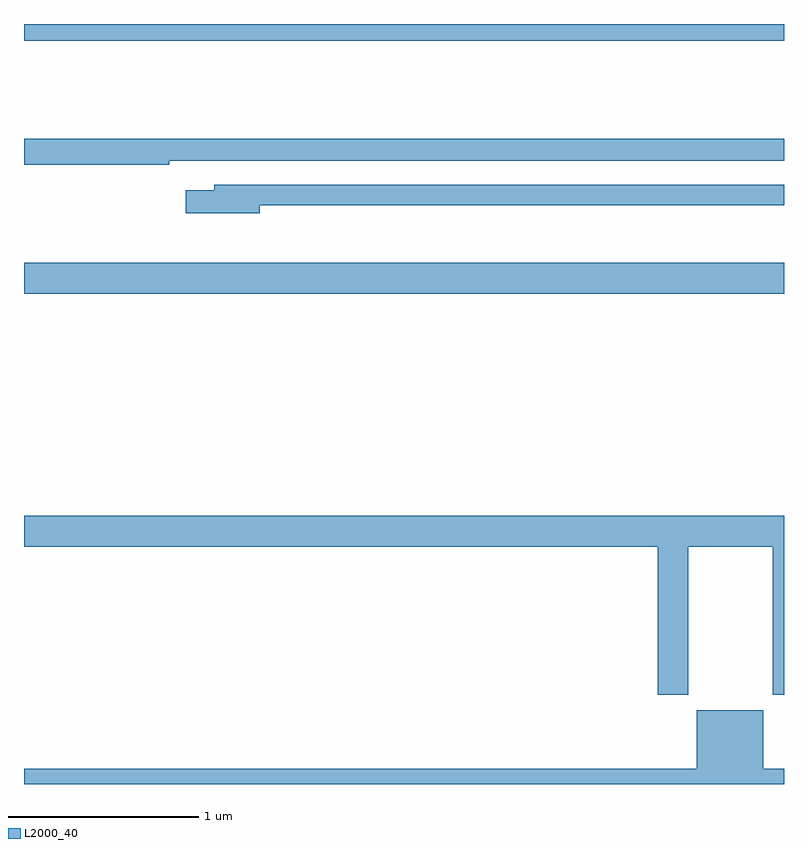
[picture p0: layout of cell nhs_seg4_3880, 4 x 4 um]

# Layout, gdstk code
import gdstk
lib = gdstk.Library(unit=1e-6, precision=1e-09)
def R(c, l, rs):  # rectangles x0, y0, x1, y1
    for r in rs: c.add(gdstk.rectangle(r[:2], r[2:], *l))
def P(c, l, *ps):  # polygons
    for p in ps: c.add(gdstk.Polygon(p, *l))
L2000_40 = (2000, 40)

nhs_seg4_3880 = lib.new_cell('nhs_seg4_3880')
R(nhs_seg4_3880, L2000_40, [(315,803.48,319,803.644), (315,804.812,319,804.9)])
P(nhs_seg4_3880, L2000_40, [(315.764,804.18),(319,804.18),(319,804.296),(315,804.296),(315,804.16),(315.764,804.16)],
  [(316.24,803.946),(319,803.946),(319,804.054),(316.001,804.054),(316.001,804.025),(315.852,804.025),(315.852,803.903),(316.24,803.903)],
  [(318.495,802.148),(318.94,802.148),(318.94,801.369),(319,801.369),(319,802.312),(315,802.312),(315,802.148),(318.335,802.148),(318.335,801.369),(318.495,801.369)],
  [(315,800.9),(319,800.9),(319,800.98),(318.892,800.98),(318.892,801.289),(318.542,801.289),(318.542,800.98),(315,800.98)])

lib.write_gds('nhs_seg4_3880.gds')
